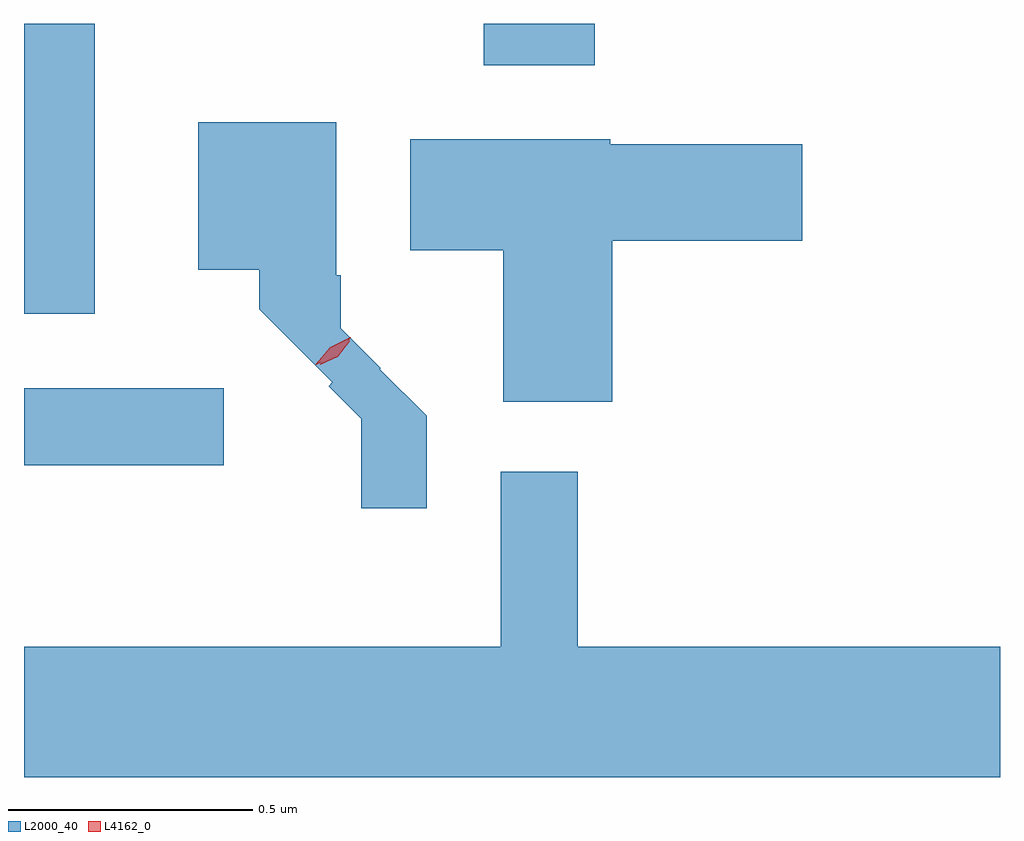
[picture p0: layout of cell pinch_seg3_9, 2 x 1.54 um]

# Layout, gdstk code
import gdstk
lib = gdstk.Library(unit=1e-6, precision=1e-09)
def R(c, l, rs):  # rectangles x0, y0, x1, y1
    for r in rs: c.add(gdstk.rectangle(r[:2], r[2:], *l))
def P(c, l, *ps):  # polygons
    for p in ps: c.add(gdstk.Polygon(p, *l))
L2000_40 = (2000, 40)
L4162_0 = (4162, 0)

pinch_seg3_9 = lib.new_cell('pinch_seg3_9')
R(pinch_seg3_9, L2000_40, [(855.879,1126.656,856.288,1126.814), (855.879,1126.966,856.024,1127.561), (856.821,1127.476,857.049,1127.561)])
P(pinch_seg3_9, L2000_40, [(856.704,1126.757),(856.608,1126.853),(856.61,1126.855),(856.528,1126.937),(856.528,1127.045),(856.519,1127.045),(856.519,1127.359),(856.236,1127.359),(856.236,1127.056),(856.361,1127.056),(856.361,1126.976),(856.511,1126.826),(856.503,1126.818),(856.57,1126.751),(856.57,1126.568),(856.704,1126.568)],
  [(857.084,1127.116),(857.474,1127.116),(857.474,1127.314),(857.08,1127.314),(857.08,1127.324),(856.671,1127.324),(856.671,1127.096),(856.861,1127.096),(856.861,1126.786),(857.084,1126.786)],
  [(857.879,1126.284),(857.014,1126.284),(857.014,1126.643),(856.856,1126.643),(856.856,1126.284),(855.879,1126.284),(855.879,1126.016),(857.879,1126.016)])
P(pinch_seg3_9, L4162_0, [(856.477,1126.862),(856.477,1126.863),(856.507,1126.898),(856.548,1126.918),(856.549,1126.918),(856.549,1126.917),(856.519,1126.882),(856.478,1126.862)],
  [(856.485,1126.862),(856.485,1126.862),(856.51,1126.894),(856.546,1126.911),(856.547,1126.911),(856.547,1126.91),(856.522,1126.878),(856.486,1126.862)])

lib.write_gds('pinch_seg3_9.gds')
